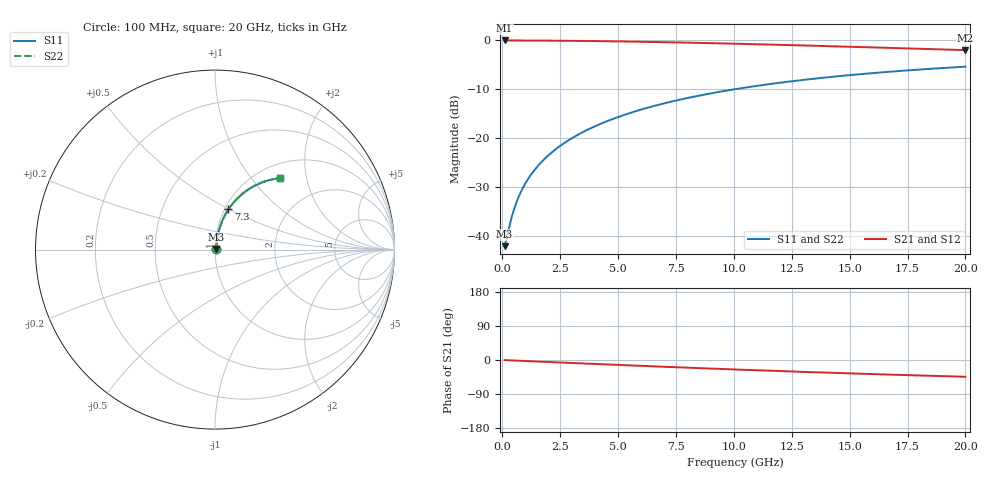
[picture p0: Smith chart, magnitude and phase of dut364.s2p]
! Touchstone file exported from HFSS 2024.1.0
!  File:  C:/UserFiles/LocalFiles/RDL_TSV_Batchsim/temp_RDL_top_364_1779608675.aedt
!  Generated:  03:46:51 PM May 24, 2026
!  Design:  RDL_top
!  Project:  temp_RDL_top_364_1779608675
!  Setup:  Setup1
!  Solution:  Sweep
! Variables:
!  dtsv = 10.80580581um
!  hbump = 3um
!  htsv = 69.46um
!  ldown = 100um
!  lrdl = 503.58um
!  p = 40
!  p1 = 59.18um
!  rhole = 1um
!  t = 450um
!  tdown = 3.915915916um
!  trdl = 2.39um
!  wdown = 15.38538539um
!  wrdl = 10.44um
# GHz S MA R 50.000000
! Terminal data exported
! Port[1] = Box2_T1
! Port[2] = Box2_T2
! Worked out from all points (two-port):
!   200 points, 100 MHz to 20 GHz, reference 50 ohm
!   highest |S21| = -0.06 dB at 100 MHz (marker M1); lowest = -2.0 dB at 20 GHz (marker M2)
!   |S21| within 3 dB of the highest: start of sweep to end of sweep
!   lowest |S11| = -42.0 dB at 100 MHz (marker M3), VSWR 1.02, Z = 50.7 + j0.347 ohm
!   |S11| at or under -10 dB: start of sweep to 10.04 GHz
!   |S22| runs from -42.0 to -5.4 dB; largest |S21 - S12| = 3.5e-15
!   S11 on the Smith chart (normalised r, x): 100 MHz: 1.01, +0.01; 7.3 GHz: 1.04, +0.49; 20 GHz: 1.26, +1.40
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0.1  0.00796 25.4  0.9928 -0.3  0.9928 -0.3  0.00796 25.4
! Gamma 0 0 0 0
! Port Impedance 50 0 50 0
0.3  0.01261 54.2  0.9927 -0.8  0.9927 -0.8  0.01261 54.2
0.4  0.01556 61.0  0.9925 -1.1  0.9925 -1.1  0.01556 61.0
0.5  0.01865 65.5  0.9924 -1.4  0.9924 -1.4  0.01865 65.5
0.6  0.02182 68.6  0.9922 -1.6  0.9922 -1.6  0.02182 68.6
0.7  0.02503 70.9  0.992 -1.9  0.992 -1.9  0.02503 70.9
0.9  0.03151 73.8  0.9916 -2.4  0.9916 -2.4  0.03151 73.8
1.2  0.04128 76.3  0.9909 -3.2  0.9909 -3.2  0.04128 76.3
1.4  0.0478 77.2  0.9903 -3.7  0.9903 -3.7  0.0478 77.2
1.7  0.0576 78.1  0.9894 -4.5  0.9894 -4.5  0.0576 78.1
2.2  0.07393 78.7  0.9877 -5.8  0.9877 -5.8  0.07393 78.7
2.8  0.09352 78.6  0.9851 -7.4  0.9851 -7.4  0.09352 78.6
3.5  0.1163 78.0  0.9814 -9.2  0.9814 -9.2  0.1163 78.0
4.2  0.139 77.1  0.9771 -11.0  0.9771 -11.0  0.139 77.1
5  0.1646 75.8  0.9714 -13.0  0.9714 -13.0  0.1647 75.8
6.8  0.2211 72.5  0.9558 -17.4  0.9558 -17.4  0.2211 72.5
7.3  0.2364 71.5  0.9508 -18.6  0.9508 -18.6  0.2364 71.5
8.6  0.2752 68.9  0.9371 -21.7  0.9371 -21.7  0.2752 68.9
10.1  0.3179 65.9  0.9197 -25.1  0.9197 -25.1  0.3179 65.9
13.4  0.4033 59.4  0.8779 -32.1  0.8779 -32.1  0.4033 59.4
16.7  0.4762 53.3  0.8342 -38.5  0.8342 -38.5  0.4762 53.3
20  0.537 47.8  0.7912 -44.3  0.7912 -44.3  0.537 47.8
